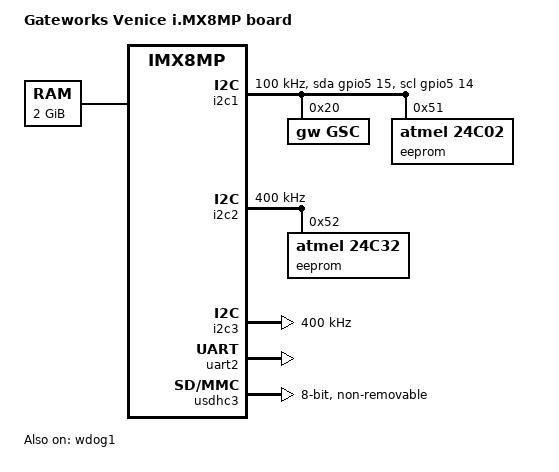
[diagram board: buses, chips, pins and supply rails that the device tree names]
// SPDX-License-Identifier: (GPL-2.0+ OR MIT)
/*
 * Copyright 2022 Gateworks Corporation
 */

/dts-v1/;

#include "imx8mp.dtsi"

/ {
	model = "Gateworks Venice i.MX8MP board";
	compatible = "gateworks,imx8mp-venice", "fsl,imx8mp";

	chosen {
		stdout-path = &uart2;
	};

	memory@40000000 {
		device_type = "memory";
		reg = <0x0 0x40000000 0 0x80000000>;
	};
};

&i2c1 {
	clock-frequency = <100000>;
	pinctrl-names = "default", "gpio";
	pinctrl-0 = <&pinctrl_i2c1>;
	pinctrl-1 = <&pinctrl_i2c1_gpio>;
	scl-gpios = <&gpio5 14 GPIO_ACTIVE_HIGH>;
	sda-gpios = <&gpio5 15 GPIO_ACTIVE_HIGH>;
	status = "okay";

	gsc: gsc@20 {
		compatible = "gw,gsc";
		reg = <0x20>;
		#address-cells = <1>;
		#size-cells = <0>;
	};

	eeprom@51 {
		compatible = "atmel,24c02";
		reg = <0x51>;
		pagesize = <16>;
	};
};

&i2c2 {
	clock-frequency = <400000>;
	pinctrl-names = "default";
	pinctrl-0 = <&pinctrl_i2c2>;
	status = "okay";

	eeprom@52 {
		compatible = "atmel,24c32";
		reg = <0x52>;
		pagesize = <32>;
	};
};

&i2c3 {
	clock-frequency = <400000>;
	pinctrl-names = "default";
	pinctrl-0 = <&pinctrl_i2c3>;
	status = "okay";
};

/* console */
&uart2 {
	pinctrl-names = "default";
	pinctrl-0 = <&pinctrl_uart2>;
	status = "okay";
};

/* eMMC */
&usdhc3 {
	assigned-clocks = <&clk IMX8MP_CLK_USDHC3>;
	assigned-clock-rates = <400000000>;
	pinctrl-names = "default", "state_100mhz", "state_200mhz";
	pinctrl-0 = <&pinctrl_usdhc3>;
	pinctrl-1 = <&pinctrl_usdhc3_100mhz>;
	pinctrl-2 = <&pinctrl_usdhc3_200mhz>;
	bus-width = <8>;
	non-removable;
	status = "okay";
};

&wdog1 {
	pinctrl-names = "default";
	pinctrl-0 = <&pinctrl_wdog>;
	fsl,ext-reset-output;
	status = "okay";
};

&iomuxc {
	pinctrl_i2c1: i2c1grp {
		fsl,pins = <
			MX8MP_IOMUXC_I2C1_SCL__I2C1_SCL		0x400001c3
			MX8MP_IOMUXC_I2C1_SDA__I2C1_SDA		0x400001c3
		>;
	};

	pinctrl_i2c1_gpio: i2c1grp-gpio-grp {
		fsl,pins = <
			MX8MP_IOMUXC_I2C1_SCL__GPIO5_IO14	0x400001c3
			MX8MP_IOMUXC_I2C1_SDA__GPIO5_IO15	0x400001c3
		>;
	};

	pinctrl_i2c2: i2c2grp {
		fsl,pins = <
			MX8MP_IOMUXC_I2C2_SCL__I2C2_SCL		0x400001c3
			MX8MP_IOMUXC_I2C2_SDA__I2C2_SDA		0x400001c3
		>;
	};

	pinctrl_i2c3: i2c3grp {
		fsl,pins = <
			MX8MP_IOMUXC_I2C3_SCL__I2C3_SCL		0x400001c3
			MX8MP_IOMUXC_I2C3_SDA__I2C3_SDA		0x400001c3
		>;
	};

	pinctrl_uart2: uart2grp {
		fsl,pins = <
			MX8MP_IOMUXC_UART2_RXD__UART2_DCE_RX	0x49
			MX8MP_IOMUXC_UART2_TXD__UART2_DCE_TX	0x49
		>;
	};

	pinctrl_usdhc3: usdhc3grp {
		fsl,pins = <
			MX8MP_IOMUXC_NAND_WE_B__USDHC3_CLK	0x190
			MX8MP_IOMUXC_NAND_WP_B__USDHC3_CMD	0x1d0
			MX8MP_IOMUXC_NAND_DATA04__USDHC3_DATA0	0x1d0
			MX8MP_IOMUXC_NAND_DATA05__USDHC3_DATA1	0x1d0
			MX8MP_IOMUXC_NAND_DATA06__USDHC3_DATA2	0x1d0
			MX8MP_IOMUXC_NAND_DATA07__USDHC3_DATA3	0x1d0
			MX8MP_IOMUXC_NAND_RE_B__USDHC3_DATA4	0x1d0
			MX8MP_IOMUXC_NAND_CE2_B__USDHC3_DATA5	0x1d0
			MX8MP_IOMUXC_NAND_CE3_B__USDHC3_DATA6	0x1d0
			MX8MP_IOMUXC_NAND_CLE__USDHC3_DATA7	0x1d0
			MX8MP_IOMUXC_NAND_CE1_B__USDHC3_STROBE	0x190
		>;
	};

	pinctrl_usdhc3_100mhz: usdhc3-100mhzgrp {
		fsl,pins = <
			MX8MP_IOMUXC_NAND_WE_B__USDHC3_CLK	0x194
			MX8MP_IOMUXC_NAND_WP_B__USDHC3_CMD	0x1d4
			MX8MP_IOMUXC_NAND_DATA04__USDHC3_DATA0	0x1d4
			MX8MP_IOMUXC_NAND_DATA05__USDHC3_DATA1	0x1d4
			MX8MP_IOMUXC_NAND_DATA06__USDHC3_DATA2	0x1d4
			MX8MP_IOMUXC_NAND_DATA07__USDHC3_DATA3	0x1d4
			MX8MP_IOMUXC_NAND_RE_B__USDHC3_DATA4	0x1d4
			MX8MP_IOMUXC_NAND_CE2_B__USDHC3_DATA5	0x1d4
			MX8MP_IOMUXC_NAND_CE3_B__USDHC3_DATA6	0x1d4
			MX8MP_IOMUXC_NAND_CLE__USDHC3_DATA7	0x1d4
			MX8MP_IOMUXC_NAND_CE1_B__USDHC3_STROBE	0x194
		>;
	};

	pinctrl_usdhc3_200mhz: usdhc3-200mhzgrp {
		fsl,pins = <
			MX8MP_IOMUXC_NAND_WE_B__USDHC3_CLK	0x196
			MX8MP_IOMUXC_NAND_WP_B__USDHC3_CMD	0x1d6
			MX8MP_IOMUXC_NAND_DATA04__USDHC3_DATA0	0x1d6
			MX8MP_IOMUXC_NAND_DATA05__USDHC3_DATA1	0x1d6
			MX8MP_IOMUXC_NAND_DATA06__USDHC3_DATA2	0x1d6
			MX8MP_IOMUXC_NAND_DATA07__USDHC3_DATA3	0x1d6
			MX8MP_IOMUXC_NAND_RE_B__USDHC3_DATA4	0x1d6
			MX8MP_IOMUXC_NAND_CE2_B__USDHC3_DATA5	0x1d6
			MX8MP_IOMUXC_NAND_CE3_B__USDHC3_DATA6	0x1d6
			MX8MP_IOMUXC_NAND_CLE__USDHC3_DATA7	0x1d6
			MX8MP_IOMUXC_NAND_CE1_B__USDHC3_STROBE	0x196
		>;
	};

	pinctrl_wdog: wdoggrp {
		fsl,pins = <
			MX8MP_IOMUXC_GPIO1_IO02__WDOG1_WDOG_B	0x166
		>;
	};
};
